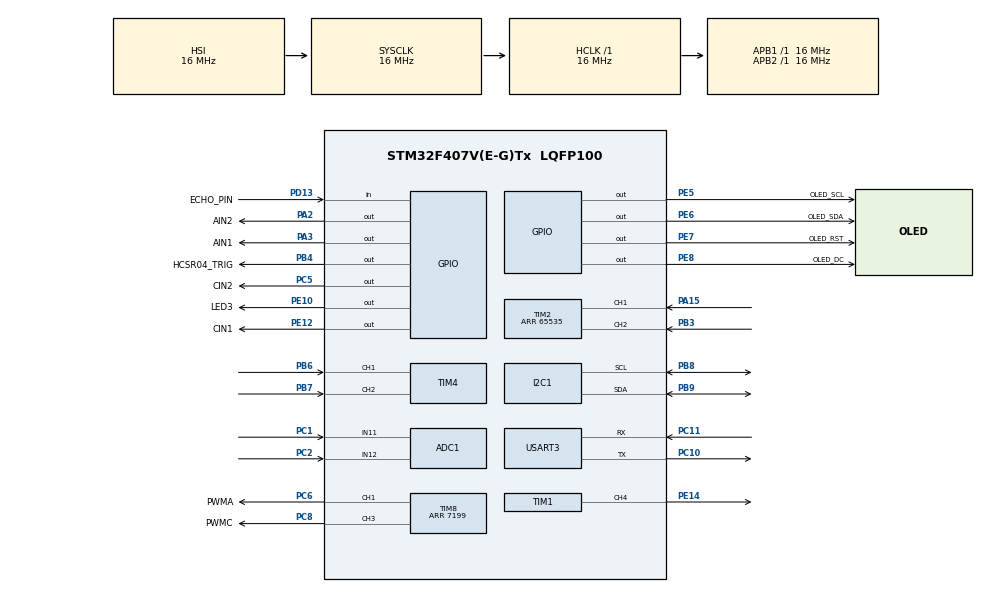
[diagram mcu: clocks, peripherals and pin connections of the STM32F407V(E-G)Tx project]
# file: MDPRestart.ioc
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ADC1.Channel-0\#ChannelRegularConversion=ADC_CHANNEL_11
ADC1.NbrOfConversionFlag=1
ADC1.Rank-0\#ChannelRegularConversion=1
ADC1.SamplingTime-0\#ChannelRegularConversion=ADC_SAMPLETIME_3CYCLES
ADC1.ScanConvMode=ENABLE
ADC1.master=1
FREERTOS.Tasks01=defaultTask,8,128,StartDefaultTask,Default,NULL,Dynamic,NULL,NULL;Command_Task,8,256,commandTask,Default,NULL,Dynamic,NULL,NULL;IMU_Task,8,256,imuTask,Default,NULL,Dynamic,NULL,NULL;PID_Task,32,512,pidTask,Default,NULL,Dynamic,NULL,NULL;UltrasonicTask,8,128,Ultrasonic_Task,Default,NULL,Dynamic,NULL,NULL;HeadingPID,8,128,Heading_PID,Default,NULL,Dynamic,NULL,NULL;IRSensorTask,8,128,IRSensor_Task,Default,NULL,Dynamic,NULL,NULL
Mcu.Family=STM32F4
Mcu.Name=STM32F407V(E-G)Tx
Mcu.Package=LQFP100
NVIC.PriorityGroup=NVIC_PRIORITYGROUP_4
NVIC.USART3_IRQn=true\:5\:0\:false\:false\:true\:true\:true\:true\:true
PA15.Signal=S_TIM2_CH1_ETR
PA2.GPIO_Label=AIN2
PA2.Signal=GPIO_Output
PA3.GPIO_Label=AIN1
PA3.Signal=GPIO_Output
PB3.Signal=S_TIM2_CH2
PB4.GPIO_Label=HCSR04_TRIG
PB4.Signal=GPIO_Output
PB6.Signal=S_TIM4_CH1
PB7.Signal=S_TIM4_CH2
PB8.GPIO_Pu=GPIO_NOPULL
PB8.Mode=I2C
PB8.Signal=I2C1_SCL
PB9.GPIO_Pu=GPIO_NOPULL
PB9.Mode=I2C
PB9.Signal=I2C1_SDA
PC1.Signal=ADCx_IN11
PC10.Mode=Asynchronous
PC10.Signal=USART3_TX
PC11.GPIO_PuPd=GPIO_PULLDOWN
PC11.Mode=Asynchronous
PC11.Signal=USART3_RX
PC2.Signal=ADCx_IN12
PC5.GPIO_Label=CIN2
PC5.Signal=GPIO_Output
PC6.GPIO_Label=PWMA
PC6.Signal=S_TIM8_CH1
PC8.GPIO_Label=PWMC
PC8.Signal=S_TIM8_CH3
PD13.GPIO_Label=ECHO_PIN
PD13.Signal=GPIO_Input
PE10.GPIO_Label=LED3
PE10.Signal=GPIO_Output
PE12.GPIO_Label=CIN1
PE12.Signal=GPIO_Output
PE14.Signal=S_TIM1_CH4
PE5.GPIO_Label=OLED_SCL
PE5.Signal=GPIO_Output
PE6.GPIO_Label=OLED_SDA
PE6.Signal=GPIO_Output
PE7.GPIO_Label=OLED_RST
PE7.Signal=GPIO_Output
PE8.GPIO_Label=OLED_DC
PE8.Signal=GPIO_Output
PH0-OSC_IN.Signal=RCC_OSC_IN
PH1-OSC_OUT.Signal=RCC_OSC_OUT
ProjectManager.HeapSize=0x200
ProjectManager.StackSize=0x400
ProjectManager.TargetToolchain=STM32CubeIDE
RCC.AHBFreq_Value=16000000
RCC.APB1Freq_Value=16000000
RCC.APB2Freq_Value=16000000
RCC.CortexFreq_Value=16000000
RCC.HSE_VALUE=25000000
RCC.HSI_VALUE=16000000
RCC.LSE_VALUE=32768
RCC.SYSCLKFreq_VALUE=16000000
RCC.VCOOutputFreq_Value=192000000
SH.ADCx_IN11.0=ADC1_IN11,IN11
SH.ADCx_IN12.0=ADC1_IN12,IN12
SH.S_TIM1_CH4.0=TIM1_CH4,PWM Generation4 CH4
SH.S_TIM2_CH1_ETR.0=TIM2_CH1,Encoder_Interface
SH.S_TIM2_CH2.0=TIM2_CH2,Encoder_Interface
SH.S_TIM4_CH1.0=TIM4_CH1,Encoder_Interface
SH.S_TIM4_CH2.0=TIM4_CH2,Encoder_Interface
SH.S_TIM8_CH1.0=TIM8_CH1,PWM Generation1 CH1
SH.S_TIM8_CH3.0=TIM8_CH3,PWM Generation3 CH3
TIM1.Channel-PWM\ Generation4\ CH4=TIM_CHANNEL_4
TIM1.Period=1000
TIM1.Prescaler=160
TIM2.EncoderMode=TIM_ENCODERMODE_TI12
TIM2.IC1Filter=10
TIM2.IC2Filter=10
TIM2.Period=65535
TIM4.EncoderMode=TIM_ENCODERMODE_TI12
TIM4.IC1Filter=10
TIM4.IC2Filter=10
TIM8.Channel-PWM\ Generation1\ CH1=TIM_CHANNEL_1
TIM8.Channel-PWM\ Generation3\ CH3=TIM_CHANNEL_3
TIM8.Period=7199
USART3.VirtualMode=VM_ASYNC
VP_FREERTOS_VS_CMSIS_V2.Mode=CMSIS_V2
board=custom

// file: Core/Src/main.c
/* USER CODE BEGIN Header */
/**
 ******************************************************************************
 * @file           : main.c
 * @brief          : Main program body
 ******************************************************************************
 * @attention
 *
 * Copyright (c) 2025 STMicroelectronics.
 * All rights reserved.
 *
 * This software is licensed under terms that can be found in the LICENSE file
 * in the root directory of this software component.
 * If no LICENSE file comes with this software, it is provided AS-IS.
 *
 ******************************************************************************
 */
/* USER CODE END Header */
#include "main.h"
#include "cmsis_os.h"

/* USER CODE BEGIN Includes */
#include "oled.h"
#include "QueueManager.h"
#include "pid.h"
#include "ICM20948.h"
#include <stdbool.h>
#include <string.h>
#include <stdio.h>
#include <math.h>
#include <stdint.h>
#include <float.h>
#include <stdlib.h>
#include <Appl_Timer.h>
#include <HCSR04_cfg.h>

/* USER CODE END Includes */

/* USER CODE BEGIN PD */
////////////////////COMMAND TABLE////////////////////
#define MOVE_FORWARD          1
#define MOVE_BACKWARD         2
#define TURN_FORWARD_LEFT     3
#define TURN_FORWARD_RIGHT    4
#define TURN_BACKWARD_LEFT    5
#define TURN_BACKWARD_RIGHT   6
#define OFFSET_FORWARD_LEFT   7
#define OFFSET_FORWARD_RIGHT  8
#define OFFSET_BACKWARD_LEFT  9
#define OFFSET_BACKWARD_RIGHT 10
#define STOP                  11
#define SNAP				  12

////////////////////RPI RECEIVER////////////////////
#define RXBUFFER_SIZE 8

////////////////////ENCODER DEFINES////////////////////

#define REAR_WHEEL_RADIUS_CM 3.3
#define REAR_WHEEL_CIRCUMFERENCE (2.0 * 3.142 * REAR_WHEEL_RADIUS_CM)
#define ENCODER_PULSES_PER_ROTATION 1320 // 11*4*30
#define PULSE_PER_DISTANCE (ENCODER_PULSES_PER_ROTATION / REAR_WHEEL_CIRCUMFERENCE)
#define LOAD_TORQUE_RPM 266
#define MAX_ENCODER_SPEED ((ENCODER_PULSES_PER_ROTATION * LOAD_TORQUE_RPM) / 60)
#define MAX_MOTOR_PWM 3500

////////////////////SERVO MOTOR DEFINES////////////////////
#define CENTER_POS_PWM 151
#define LEFT_DELTA 47  // max 80
#define RIGHT_DELTA 70 // max 80
#define LEFT_OFFSET_DELTA 15  // max 80
#define RIGHT_OFFSET_DELTA 15 // max 80
#define STEERING_BUFFER_TIME 250
#define LEFTTURN_POS_PWM (CENTER_POS_PWM - LEFT_DELTA)
#define RIGHTTURN_POS_PWM (CENTER_POS_PWM + RIGHT_DELTA)
#define LEFTOFF_POS_PWM (CENTER_POS_PWM - LEFT_OFFSET_DELTA)
#define RIGHTOFF_POS_PWM (CENTER_POS_PWM + RIGHT_OFFSET_DELTA)

// Gyroscope Defines///
#define NUM_CALIBRATION_SAMPLES 500
#define GYRO_SENSITIVITY_SCALE_FACTOR_2000DPS 16.4f

/* USER CODE END PD */

ADC_HandleTypeDef hadc1;

I2C_HandleTypeDef hi2c1;

TIM_HandleTypeDef htim1;
TIM_HandleTypeDef htim2;
TIM_HandleTypeDef htim4;
TIM_HandleTypeDef htim8;

UART_HandleTypeDef huart3;

/* Definitions for defaultTask */
osThreadId_t defaultTaskHandle;
const osThreadAttr_t defaultTask_attributes = {
		.name = "defaultTask",
		.stack_size = 128 * 4,
		.priority = (osPriority_t) osPriorityLow,
};
/* Definitions for Command_Task */
osThreadId_t Command_TaskHandle;
const osThreadAttr_t Command_Task_attributes = {
		.name = "Command_Task",
		.stack_size = 256 * 4,
		.priority = (osPriority_t) osPriorityLow,
};
/* Definitions for IMU_Task */
osThreadId_t IMU_TaskHandle;
const osThreadAttr_t IMU_Task_attributes = {
		.name = "IMU_Task",
		.stack_size = 256 * 4,
		.priority = (osPriority_t) osPriorityLow,
};
/* Definitions for PID_Task */
osThreadId_t PID_TaskHandle;
const osThreadAttr_t PID_Task_attributes = {
		.name = "PID_Task",
		.stack_size = 512 * 4,
		.priority = (osPriority_t) osPriorityAboveNormal,
};
/* Definitions for UltrasonicTask */
osThreadId_t UltrasonicTaskHandle;
const osThreadAttr_t UltrasonicTask_attributes = {
		.name = "UltrasonicTask",
		.stack_size = 128 * 4,
		.priority = (osPriority_t) osPriorityLow,
};
/* Definitions for HeadingPID */
osThreadId_t HeadingPIDHandle;
const osThreadAttr_t HeadingPID_attributes = {
		.name = "HeadingPID",
		.stack_size = 128 * 4,
		.priority = (osPriority_t) osPriorityLow,
};
/* Definitions for IRSensorTask */
osThreadId_t IRSensorTaskHandle;
const osThreadAttr_t IRSensorTask_attributes = {
		.name = "IRSensorTask",
		.stack_size = 128 * 4,
		.priority = (osPriority_t) osPriorityLow,
};
/* USER CODE BEGIN PV */
char debugBuffer[100];  // Buffer for debug messages
uint8_t OLEDBuffer[32]; // store oled text
uint8_t rxBuffer[RXBUFFER_SIZE + 2]; // store command from rpi
volatile uint16_t speedCmd = 0; // in count/seconds
volatile uint16_t targetDistance = 0, targetAngle = 0; // total pulse to travel
bool commandStatus = false; // check if commandTask is running a command

volatile float heading = 0.0f;        // Heading in [0, 360)
static int16_t gyroZ_offset = 0;
uint8_t readGyroZData[2];
uint8_t Hdirection = 0;

float leftSpeed; // encodetask
float rightSpeed;
volatile uint32_t leftTotalCount = 0;
volatile uint32_t rightTotalCount = 0;

volatile uint16_t leftOutputPWM = 0;
volatile uint16_t rightOutputPWM = 0;

pid_type_def forward_pid, backward_pid;

fp32 pid_param_forward[3] = { 3.5, 0.05, 0.4};
fp32 pid_param_backward[3] = { 3.7, 0.1, 0.22};
fp32 pid_param_turn[3] = { 10, 0.0, 0.0 }; // used for PID steering (not as accurate as Gyro but quicker)
fp32 max_out = 4000;
fp32 max_out_turn = 4500;
fp32 max_iout = 3000;

float error_sum = 0.01;
float last_error = 0.0f;
volatile float targetHeading = 0.0f;
uint8_t cmdID = 0;

osMutexId_t headingMutex;
const osMutexAttr_t headingMutex_attributes = {
		.name = "headingMutex"
};
bool resetEncoderFlag = false;

/* USER CODE END PV */

void SystemClock_Config(void);
static void MX_GPIO_Init(void);
static void MX_USART3_UART_Init(void);
static void MX_TIM8_Init(void);
static void MX_TIM2_Init(void);
static void MX_TIM1_Init(void);
static void MX_I2C1_Init(void);
static void MX_TIM4_Init(void);
static void MX_ADC1_Init(void);
void StartDefaultTask(void *argument);
void commandTask(void *argument);
void imuTask(void *argument);
void pidTask(void *argument);
void Ultrasonic_Task(void *argument);
void Heading_PID(void *argument);
void IRSensor_Task(void *argument);

/* USER CODE BEGIN PFP */
void Start_RPI_Comm(void);
void SendMsg_RPI(uint8_t *pdata , uint32_t u32Len);
void turnLeft();
void turnRight();
void offsetLeft();
void offsetRight();
void faceFront();
void setLeftPWM(uint16_t dutyCycle);
void setRightPWM(uint16_t dutyCycle);
void setMotorForward();
void setMotorBackward();
void motorStop();
void moveMotor(int direction, uint16_t speed);
//void distanceTracker();
uint32_t getEncoderDelta(uint32_t count1, uint32_t count2, TIM_HandleTypeDef *htim);
//osSemaphoreId_t commandSemaphore;
//const osSemaphoreAttr_t commandSemaphore_attributes = {
//		.name = "commandSemaphore"
//};

/* USER CODE END PFP */

int main(void)
{

	/* MCU Configuration--------------------------------------------------------*/

	/* Reset of all peripherals, Initializes the Flash interface and the Systick. */
	HAL_Init();

	/* Configure the system clock */
	SystemClock_Config();

	/* Initialize all configured peripherals */
	MX_GPIO_Init();
	MX_USART3_UART_Init();
	MX_TIM8_Init();
	MX_TIM2_Init();
	MX_TIM1_Init();
	MX_I2C1_Init();
	MX_TIM4_Init();
	MX_ADC1_Init();
	/* USER CODE BEGIN 2 */
	OLED_Init();
	Start_RPI_Comm();
	HAL_TIM_PWM_Start(&htim8, TIM_CHANNEL_1); // Left Motor PWM
	HAL_TIM_PWM_Start(&htim8, TIM_CHANNEL_3); // Right Motor PWM
	HAL_TIM_PWM_Start(&htim1, TIM_CHANNEL_4); // Servo Motor PWM
	HAL_TIM_Encoder_Start(&htim2, TIM_CHANNEL_ALL); // Left Motor Encoder
	HAL_TIM_Encoder_Start(&htim4, TIM_CHANNEL_ALL); // Right Motor Encoder

	ICM20948_init(&hi2c1, 0, GYRO_FULL_SCALE_2000DPS);

	PID_init(&forward_pid, PID_POSITION, pid_param_forward, max_out, max_iout);
	PID_init(&backward_pid, PID_POSITION, pid_param_backward, max_out, max_iout);

	//commandSemaphore = osSemaphoreNew(1, 0, &commandSemaphore_attributes);
	osThreadNew(commandTask, NULL, &Command_Task_attributes);
	headingMutex = osMutexNew(&headingMutex_attributes);
	if (headingMutex == NULL) {
		// Handle mutex creation failure
		Error_Handler();
	}

	/* USER CODE END 2 */

	/* Init scheduler */
	osKernelInitialize();

	/* Create the thread(s) */
	/* creation of defaultTask */
	defaultTaskHandle = osThreadNew(StartDefaultTask, NULL, &defaultTask_attributes);

	/* creation of Command_Task */
	Command_TaskHandle = osThreadNew(commandTask, NULL, &Command_Task_attributes);

	/* creation of IMU_Task */
	IMU_TaskHandle = osThreadNew(imuTask, NULL, &IMU_Task_attributes);

	/* creation of PID_Task */
	PID_TaskHandle = osThreadNew(pidTask, NULL, &PID_Task_attributes);

	/* creation of UltrasonicTask */
	UltrasonicTaskHandle = osThreadNew(Ultrasonic_Task, NULL, &UltrasonicTask_attributes);

	/* creation of HeadingPID */
	HeadingPIDHandle = osThreadNew(Heading_PID, NULL, &HeadingPID_attributes);

	/* creation of IRSensorTask */
	IRSensorTaskHandle = osThreadNew(IRSensor_Task, NULL, &IRSensorTask_attributes);

	/* Start scheduler */
	osKernelStart();

	/* We should never get here as control is now taken by the scheduler */

	/* Infinite loop */
	while (1)
	{

	}
}

void SystemClock_Config(void)
{
	RCC_OscInitTypeDef RCC_OscInitStruct = {0};
	RCC_ClkInitTypeDef RCC_ClkInitStruct = {0};

	/** Configure the main internal regulator output voltage
	 */
	__HAL_RCC_PWR_CLK_ENABLE();
	__HAL_PWR_VOLTAGESCALING_CONFIG(PWR_REGULATOR_VOLTAGE_SCALE1);

	/** Initializes the RCC Oscillators according to the specified parameters
	 * in the RCC_OscInitTypeDef structure.
	 */
	RCC_OscInitStruct.OscillatorType = RCC_OSCILLATORTYPE_HSI;
	RCC_OscInitStruct.HSIState = RCC_HSI_ON;
	RCC_OscInitStruct.HSICalibrationValue = RCC_HSICALIBRATION_DEFAULT;
	RCC_OscInitStruct.PLL.PLLState = RCC_PLL_NONE;
	if (HAL_RCC_OscConfig(&RCC_OscInitStruct) != HAL_OK)
	{
		Error_Handler();
	}

	/** Initializes the CPU, AHB and APB buses clocks
	 */
	RCC_ClkInitStruct.ClockType = RCC_CLOCKTYPE_HCLK|RCC_CLOCKTYPE_SYSCLK
			|RCC_CLOCKTYPE_PCLK1|RCC_CLOCKTYPE_PCLK2;
	RCC_ClkInitStruct.SYSCLKSource = RCC_SYSCLKSOURCE_HSI;
	RCC_ClkInitStruct.AHBCLKDivider = RCC_SYSCLK_DIV1;
	RCC_ClkInitStruct.APB1CLKDivider = RCC_HCLK_DIV1;
	RCC_ClkInitStruct.APB2CLKDivider = RCC_HCLK_DIV1;

	if (HAL_RCC_ClockConfig(&RCC_ClkInitStruct, FLASH_LATENCY_0) != HAL_OK)
	{
		Error_Handler();
	}
}

static void MX_ADC1_Init(void)
{

	ADC_ChannelConfTypeDef sConfig = {0};

	/** Configure the global features of the ADC (Clock, Resolution, Data Alignment and number of conversion)
	 */
	hadc1.Instance = ADC1;
	hadc1.Init.ClockPrescaler = ADC_CLOCK_SYNC_PCLK_DIV2;
	hadc1.Init.Resolution = ADC_RESOLUTION_12B;
	hadc1.Init.ScanConvMode = ENABLE;
	hadc1.Init.ContinuousConvMode = DISABLE;
	hadc1.Init.DiscontinuousConvMode = DISABLE;
	hadc1.Init.ExternalTrigConvEdge = ADC_EXTERNALTRIGCONVEDGE_NONE;
	hadc1.Init.ExternalTrigConv = ADC_SOFTWARE_START;
	hadc1.Init.DataAlign = ADC_DATAALIGN_RIGHT;
	hadc1.Init.NbrOfConversion = 1;
	hadc1.Init.DMAContinuousRequests = DISABLE;
	hadc1.Init.EOCSelection = ADC_EOC_SINGLE_CONV;
	if (HAL_ADC_Init(&hadc1) != HAL_OK)
	{
		Error_Handler();
	}

	/** Configure for the selected ADC regular channel its corresponding rank in the sequencer and its sample time.
	 */
	sConfig.Channel = ADC_CHANNEL_11;
	sConfig.Rank = 1;
	sConfig.SamplingTime = ADC_SAMPLETIME_3CYCLES;
	if (HAL_ADC_ConfigChannel(&hadc1, &sConfig) != HAL_OK)
	{
		Error_Handler();
	}

}

static void MX_I2C1_Init(void)
{

	hi2c1.Instance = I2C1;
	hi2c1.Init.ClockSpeed = 100000;
	hi2c1.Init.DutyCycle = I2C_DUTYCYCLE_2;
	hi2c1.Init.OwnAddress1 = 0;
	hi2c1.Init.AddressingMode = I2C_ADDRESSINGMODE_7BIT;
	hi2c1.Init.DualAddressMode = I2C_DUALADDRESS_DISABLE;
	hi2c1.Init.OwnAddress2 = 0;
	hi2c1.Init.GeneralCallMode = I2C_GENERALCALL_DISABLE;
	hi2c1.Init.NoStretchMode = I2C_NOSTRETCH_DISABLE;
	if (HAL_I2C_Init(&hi2c1) != HAL_OK)
	{
		Error_Handler();
	}

}

static void MX_TIM1_Init(void)
{

	TIM_MasterConfigTypeDef sMasterConfig = {0};
	TIM_OC_InitTypeDef sConfigOC = {0};
	TIM_BreakDeadTimeConfigTypeDef sBreakDeadTimeConfig = {0};

	htim1.Instance = TIM1;
	htim1.Init.Prescaler = 160;
	htim1.Init.CounterMode = TIM_COUNTERMODE_UP;
	htim1.Init.Period = 1000;
	htim1.Init.ClockDivision = TIM_CLOCKDIVISION_DIV1;
	htim1.Init.RepetitionCounter = 0;
	htim1.Init.AutoReloadPreload = TIM_AUTORELOAD_PRELOAD_DISABLE;
	if (HAL_TIM_PWM_Init(&htim1) != HAL_OK)
	{
		Error_Handler();
	}
	sMasterConfig.MasterOutputTrigger = TIM_TRGO_RESET;
	sMasterConfig.MasterSlaveMode = TIM_MASTERSLAVEMODE_DISABLE;
	if (HAL_TIMEx_MasterConfigSynchronization(&htim1, &sMasterConfig) != HAL_OK)
	{
		Error_Handler();
	}
	sConfigOC.OCMode = TIM_OCMODE_PWM1;
	sConfigOC.Pulse = 0;
	sConfigOC.OCPolarity = TIM_OCPOLARITY_HIGH;
	sConfigOC.OCFastMode = TIM_OCFAST_DISABLE;
	sConfigOC.OCIdleState = TIM_OCIDLESTATE_RESET;
	sConfigOC.OCNIdleState = TIM_OCNIDLESTATE_RESET;
	if (HAL_TIM_PWM_ConfigChannel(&htim1, &sConfigOC, TIM_CHANNEL_4) != HAL_OK)
	{
		Error_Handler();
	}
	sBreakDeadTimeConfig.OffStateRunMode = TIM_OSSR_DISABLE;
	sBreakDeadTimeConfig.OffStateIDLEMode = TIM_OSSI_DISABLE;
	sBreakDeadTimeConfig.LockLevel = TIM_LOCKLEVEL_OFF;
	sBreakDeadTimeConfig.DeadTime = 0;
	sBreakDeadTimeConfig.BreakState = TIM_BREAK_DISABLE;
	sBreakDeadTimeConfig.BreakPolarity = TIM_BREAKPOLARITY_HIGH;
	sBreakDeadTimeConfig.AutomaticOutput = TIM_AUTOMATICOUTPUT_DISABLE;
	if (HAL_TIMEx_ConfigBreakDeadTime(&htim1, &sBreakDeadTimeConfig) != HAL_OK)
	{
		Error_Handler();
	}
	HAL_TIM_MspPostInit(&htim1);

}

static void MX_TIM2_Init(void)
{

	TIM_Encoder_InitTypeDef sConfig = {0};
	TIM_MasterConfigTypeDef sMasterConfig = {0};

	htim2.Instance = TIM2;
	htim2.Init.Prescaler = 0;
	htim2.Init.CounterMode = TIM_COUNTERMODE_UP;
	htim2.Init.Period = 65535;
	htim2.Init.ClockDivision = TIM_CLOCKDIVISION_DIV1;
	htim2.Init.AutoReloadPreload = TIM_AUTORELOAD_PRELOAD_DISABLE;
	sConfig.EncoderMode = TIM_ENCODERMODE_TI12;
	sConfig.IC1Polarity = TIM_ICPOLARITY_RISING;
	sConfig.IC1Selection = TIM_ICSELECTION_DIRECTTI;
	sConfig.IC1Prescaler = TIM_ICPSC_DIV1;
	sConfig.IC1Filter = 10;
	sConfig.IC2Polarity = TIM_ICPOLARITY_RISING;
	sConfig.IC2Selection = TIM_ICSELECTION_DIRECTTI;
	sConfig.IC2Prescaler = TIM_ICPSC_DIV1;
	sConfig.IC2Filter = 10;
	if (HAL_TIM_Encoder_Init(&htim2, &sConfig) != HAL_OK)
	{
		Error_Handler();
	}
	sMasterConfig.MasterOutputTrigger = TIM_TRGO_RESET;
	sMasterConfig.MasterSlaveMode = TIM_MASTERSLAVEMODE_DISABLE;
	if (HAL_TIMEx_MasterConfigSynchronization(&htim2, &sMasterConfig) != HAL_OK)
	{
		Error_Handler();
	}

}

static void MX_TIM4_Init(void)
{

	TIM_Encoder_InitTypeDef sConfig = {0};
	TIM_MasterConfigTypeDef sMasterConfig = {0};

	htim4.Instance = TIM4;
	htim4.Init.Prescaler = 0;
	htim4.Init.CounterMode = TIM_COUNTERMODE_UP;
	htim4.Init.Period = 65535;
	htim4.Init.ClockDivision = TIM_CLOCKDIVISION_DIV1;
	htim4.Init.AutoReloadPreload = TIM_AUTORELOAD_PRELOAD_DISABLE;
	sConfig.EncoderMode = TIM_ENCODERMODE_TI12;
	sConfig.IC1Polarity = TIM_ICPOLARITY_RISING;
	sConfig.IC1Selection = TIM_ICSELECTION_DIRECTTI;
	sConfig.IC1Prescaler = TIM_ICPSC_DIV1;
	sConfig.IC1Filter = 10;
	sConfig.IC2Polarity = TIM_ICPOLARITY_RISING;
	sConfig.IC2Selection = TIM_ICSELECTION_DIRECTTI;
	sConfig.IC2Prescaler = TIM_ICPSC_DIV1;
	sConfig.IC2Filter = 10;
	if (HAL_TIM_Encoder_Init(&htim4, &sConfig) != HAL_OK)
	{
		Error_Handler();
	}
	sMasterConfig.MasterOutputTrigger = TIM_TRGO_RESET;
	sMasterConfig.MasterSlaveMode = TIM_MASTERSLAVEMODE_DISABLE;
	if (HAL_TIMEx_MasterConfigSynchronization(&htim4, &sMasterConfig) != HAL_OK)
	{
		Error_Handler();
	}

}

static void MX_TIM8_Init(void)
{

	TIM_MasterConfigTypeDef sMasterConfig = {0};
	TIM_OC_InitTypeDef sConfigOC = {0};
	TIM_BreakDeadTimeConfigTypeDef sBreakDeadTimeConfig = {0};

	htim8.Instance = TIM8;
	htim8.Init.Prescaler = 0;
	htim8.Init.CounterMode = TIM_COUNTERMODE_UP;
	htim8.Init.Period = 7199;
	htim8.Init.ClockDivision = TIM_CLOCKDIVISION_DIV1;
	htim8.Init.RepetitionCounter = 0;
	htim8.Init.AutoReloadPreload = TIM_AUTORELOAD_PRELOAD_DISABLE;
	if (HAL_TIM_PWM_Init(&htim8) != HAL_OK)
	{
		Error_Handler();
	}
	sMasterConfig.MasterOutputTrigger = TIM_TRGO_RESET;
	sMasterConfig.MasterSlaveMode = TIM_MASTERSLAVEMODE_DISABLE;
	if (HAL_TIMEx_MasterConfigSynchronization(&htim8, &sMasterConfig) != HAL_OK)
	{
		Error_Handler();
	}
	sConfigOC.OCMode = TIM_OCMODE_PWM1;
	sConfigOC.Pulse = 0;
	sConfigOC.OCPolarity = TIM_OCPOLARITY_HIGH;
	sConfigOC.OCNPolarity = TIM_OCNPOLARITY_HIGH;
	sConfigOC.OCFastMode = TIM_OCFAST_DISABLE;
	sConfigOC.OCIdleState = TIM_OCIDLESTATE_RESET;
	sConfigOC.OCNIdleState = TIM_OCNIDLESTATE_RESET;
	if (HAL_TIM_PWM_ConfigChannel(&htim8, &sConfigOC, TIM_CHANNEL_1) != HAL_OK)
	{
		Error_Handler();
	}
	if (HAL_TIM_PWM_ConfigChannel(&htim8, &sConfigOC, TIM_CHANNEL_3) != HAL_OK)
	{
		Error_Handler();
	}
	sBreakDeadTimeConfig.OffStateRunMode = TIM_OSSR_DISABLE;
	sBreakDeadTimeConfig.OffStateIDLEMode = TIM_OSSI_DISABLE;
	sBreakDeadTimeConfig.LockLevel = TIM_LOCKLEVEL_OFF;
	sBreakDeadTimeConfig.DeadTime = 0;
	sBreakDeadTimeConfig.BreakState = TIM_BREAK_DISABLE;
	sBreakDeadTimeConfig.BreakPolarity = TIM_BREAKPOLARITY_HIGH;
	sBreakDeadTimeConfig.AutomaticOutput = TIM_AUTOMATICOUTPUT_DISABLE;
	if (HAL_TIMEx_ConfigBreakDeadTime(&htim8, &sBreakDeadTimeConfig) != HAL_OK)
	{
		Error_Handler();
	}
	HAL_TIM_MspPostInit(&htim8);

}

static void MX_USART3_UART_Init(void)
{

	huart3.Instance = USART3;
	huart3.Init.BaudRate = 115200;
	huart3.Init.WordLength = UART_WORDLENGTH_8B;
	huart3.Init.StopBits = UART_STOPBITS_1;
	huart3.Init.Parity = UART_PARITY_NONE;
	huart3.Init.Mode = UART_MODE_TX_RX;
	huart3.Init.HwFlowCtl = UART_HWCONTROL_NONE;
	huart3.Init.OverSampling = UART_OVERSAMPLING_16;
	if (HAL_UART_Init(&huart3) != HAL_OK)
	{
		Error_Handler();
	}

}

static void MX_GPIO_Init(void)
{
	GPIO_InitTypeDef GPIO_InitStruct = {0};

	/* GPIO Ports Clock Enable */
	__HAL_RCC_GPIOE_CLK_ENABLE();
	__HAL_RCC_GPIOH_CLK_ENABLE();
	__HAL_RCC_GPIOC_CLK_ENABLE();
	__HAL_RCC_GPIOA_CLK_ENABLE();
	__HAL_RCC_GPIOD_CLK_ENABLE();
	__HAL_RCC_GPIOB_CLK_ENABLE();

	/*Configure GPIO pin Output Level */
	HAL_GPIO_WritePin(GPIOE, OLED_SCL_Pin|OLED_SDA_Pin|OLED_RST_Pin|OLED_DC_Pin
			|LED3_Pin|CIN1_Pin, GPIO_PIN_RESET);

	/*Configure GPIO pin Output Level */
	HAL_GPIO_WritePin(GPIOA, AIN2_Pin|AIN1_Pin, GPIO_PIN_RESET);

	/*Configure GPIO pin Output Level */
	HAL_GPIO_WritePin(CIN2_GPIO_Port, CIN2_Pin, GPIO_PIN_RESET);

	/*Configure GPIO pin Output Level */
	HAL_GPIO_WritePin(HCSR04_TRIG_GPIO_Port, HCSR04_TRIG_Pin, GPIO_PIN_RESET);

	/*Configure GPIO pins : OLED_SCL_Pin OLED_SDA_Pin OLED_RST_Pin OLED_DC_Pin
                           LED3_Pin CIN1_Pin */
	GPIO_InitStruct.Pin = OLED_SCL_Pin|OLED_SDA_Pin|OLED_RST_Pin|OLED_DC_Pin
			|LED3_Pin|CIN1_Pin;
	GPIO_InitStruct.Mode = GPIO_MODE_OUTPUT_PP;
	GPIO_InitStruct.Pull = GPIO_NOPULL;
	GPIO_InitStruct.Speed = GPIO_SPEED_FREQ_LOW;
	HAL_GPIO_Init(GPIOE, &GPIO_InitStruct);

	/*Configure GPIO pins : AIN2_Pin AIN1_Pin */
	GPIO_InitStruct.Pin = AIN2_Pin|AIN1_Pin;
	GPIO_InitStruct.Mode = GPIO_MODE_OUTPUT_PP;
	GPIO_InitStruct.Pull = GPIO_NOPULL;
	GPIO_InitStruct.Speed = GPIO_SPEED_FREQ_LOW;
	HAL_GPIO_Init(GPIOA, &GPIO_InitStruct);

	/*Configure GPIO pin : CIN2_Pin */
	GPIO_InitStruct.Pin = CIN2_Pin;
	GPIO_InitStruct.Mode = GPIO_MODE_OUTPUT_PP;
	GPIO_InitStruct.Pull = GPIO_NOPULL;
	GPIO_InitStruct.Speed = GPIO_SPEED_FREQ_LOW;
	HAL_GPIO_Init(CIN2_GPIO_Port, &GPIO_InitStruct);

	/*Configure GPIO pin : ECHO_PIN_Pin */
	GPIO_InitStruct.Pin = ECHO_PIN_Pin;
	GPIO_InitStruct.Mode = GPIO_MODE_INPUT;
	GPIO_InitStruct.Pull = GPIO_NOPULL;
	HAL_GPIO_Init(ECHO_PIN_GPIO_Port, &GPIO_InitStruct);

	/*Configure GPIO pin : HCSR04_TRIG_Pin */
	GPIO_InitStruct.Pin = HCSR04_TRIG_Pin;
	GPIO_InitStruct.Mode = GPIO_MODE_OUTPUT_PP;
	GPIO_InitStruct.Pull = GPIO_NOPULL;
	GPIO_InitStruct.Speed = GPIO_SPEED_FREQ_LOW;
	HAL_GPIO_Init(HCSR04_TRIG_GPIO_Port, &GPIO_InitStruct);

}

/* USER CODE BEGIN 4 */
////////////////////RPI COMMS START////////////////////
void Start_RPI_Comm(void)
{
	HAL_UART_Receive_IT(&huart3, (uint8_t*) rxBuffer, RXBUFFER_SIZE);  //trigger interrupt after 8 byte
}
void SendMsg_RPI(uint8_t *pdata , uint32_t u32Len)
{
	HAL_UART_Transmit(&huart3, pdata , u32Len, 100);
}
void HAL_UART_RxCpltCallback(UART_HandleTypeDef *huart)
{
	uint32_t u32Cmd = 0U;
	uint32_t u32speed = 0U, u32distance = 0U;
	char msgBuffer[50];

	if (huart->Instance == USART3)
	{
		char direction = rxBuffer[0];
		char speedData[3] = {0};
		char distanceData[4] = {0};

		strncpy(speedData, (char*)&rxBuffer[1], 2);
		speedData[2] = '\0';
		strncpy(distanceData, (char*)&rxBuffer[4], 3);
		distanceData[3] = '\0';
		u32speed = (uint32_t)atoi(speedData);  // Convert ASCII to integer
		u32distance = (uint32_t)atoi(distanceData);  // Convert ASCII to integer
		if (u32distance != 0 && u32distance <= 5) {
			u32distance = 5;
		}

		switch (direction)
		{
		case 'F':  u32Cmd = MOVE_FORWARD;          break;
		case 'B':  u32Cmd = MOVE_BACKWARD;         break;
		case 'L':  u32Cmd = TURN_FORWARD_LEFT;     break;
		case 'R':  u32Cmd = TURN_FORWARD_RIGHT;    break;
		case 'l':  u32Cmd = TURN_BACKWARD_LEFT;    break;
		case 'r':  u32Cmd = TURN_BACKWARD_RIGHT;   break;
		case 'O':  u32Cmd = OFFSET_FORWARD_LEFT;   break;
		case 'P':  u32Cmd = OFFSET_FORWARD_RIGHT;  break;
		case 'o':  u32Cmd = OFFSET_BACKWARD_LEFT;  break;
		case 'p':  u32Cmd = OFFSET_BACKWARD_RIGHT; break;
		case 'Z':  u32Cmd = STOP;                  break;
		case 'S':  u32Cmd = SNAP; 				 break;
		default:   u32Cmd = 0U;                    break;
		}

		if (u32Cmd != 0U)
		{
			u32Cmd = (u32Cmd * 100000) + (u32speed * 1000) + u32distance;
			snprintf(msgBuffer, sizeof(msgBuffer), "%lu\n", (unsigned long)u32Cmd);
			SendMsg_RPI((uint8_t*)msgBuffer, strlen(msgBuffer));
			if(PushToQueue_MTR_Cmd(&u32Cmd))
			{
				//SendMsg_RPI((uint8_t*)"ACK1\n", strlen("ACK1\n"));
			}
			else
			{
				// If the queue is full, send an error message
				SendMsg_RPI((uint8_t*)"QUEUE_ERR\n", strlen("QUEUE_ERR\n"));
			}
		}
		else
		{
			SendMsg_RPI((uint8_t*)"CMD_FORMAT_ERR\n", strlen("CMD_FORMAT_ERR\n"));
		}
	}
	//memset(rxBuffer, 0U, RXBUFFER_SIZE);
	Start_RPI_Comm();
}
////////////////////RPI COMMS END////////////////////

////////////////////MOTOR HELPER START////////////////////
void turnLeft() {
	htim1.Instance->CCR4 = LEFTTURN_POS_PWM;
	//robot_direction = 0;
}
void turnRight() {
	htim1.Instance->CCR4 = RIGHTTURN_POS_PWM;
	//robot_direction = 2;
}
void offsetLeft() {
	htim1.Instance->CCR4 = LEFTOFF_POS_PWM;
	//robot_direction = 0;
}
void offsetRight() {
	htim1.Instance->CCR4 = RIGHTOFF_POS_PWM;
	//robot_direction = 2;
}
void faceFront() {
	htim1.Instance->CCR4 = CENTER_POS_PWM; //CENTER_POS_PWM;
	//robot_direction = 1;
}
void setLeftPWM(uint16_t dutyCycle) {
	__HAL_TIM_SET_COMPARE(&htim8, TIM_CHANNEL_1, dutyCycle);
}
void setRightPWM(uint16_t dutyCycle) {
	__HAL_TIM_SET_COMPARE(&htim8, TIM_CHANNEL_3, dutyCycle);
}
void setMotorForward() {
	// set motor direction
	// ------- left motor
	HAL_GPIO_WritePin(GPIOC, CIN2_Pin, GPIO_PIN_RESET);
	HAL_GPIO_WritePin(GPIOE, CIN1_Pin, GPIO_PIN_SET);
	// ------- right motor
	HAL_GPIO_WritePin(GPIOA, AIN2_Pin, GPIO_PIN_RESET);
	HAL_GPIO_WritePin(GPIOA, AIN1_Pin, GPIO_PIN_SET);
}
void setMotorBackward() {
	// set motor direction
	// ------- left motor
	HAL_GPIO_WritePin(GPIOC, CIN2_Pin, GPIO_PIN_SET);
	HAL_GPIO_WritePin(GPIOE, CIN1_Pin, GPIO_PIN_RESET);
	// ------- right motor
	HAL_GPIO_WritePin(GPIOA, AIN2_Pin, GPIO_PIN_SET);
	HAL_GPIO_WritePin(GPIOA, AIN1_Pin, GPIO_PIN_RESET);
}
void motorStop() {
	// ------- left motor
	HAL_GPIO_WritePin(GPIOC, CIN2_Pin, GPIO_PIN_RESET);
	HAL_GPIO_WritePin(GPIOE, CIN1_Pin, GPIO_PIN_RESET);
	setLeftPWM(0);
	// ------- right motor
	HAL_GPIO_WritePin(GPIOA, AIN2_Pin, GPIO_PIN_RESET);
	HAL_GPIO_WritePin(GPIOA, AIN1_Pin, GPIO_PIN_RESET);
	setRightPWM(0);
}
void moveMotor(int direction, uint16_t speed) {
	if (direction == MOVE_FORWARD) { // Forward
		setMotorForward();
	} else if (direction == MOVE_BACKWARD){ // Backward
		setMotorBackward();
	}
	// Set PWM Compare
	__HAL_TIM_SET_COMPARE(&htim8, TIM_CHANNEL_1, speed); // left motor
	__HAL_TIM_SET_COMPARE(&htim8, TIM_CHANNEL_3, speed); // right motor
}
////////////////////MOTOR HELPER END////////////////////

void TriggerPulse(void)
{
	HAL_GPIO_WritePin(HCSR04_TRIG_GPIO_Port, HCSR04_TRIG_Pin, GPIO_PIN_SET);
	__HAL_TIM_SET_COUNTER(&htim1, 0);  // Reset Timer
	while (__HAL_TIM_GET_COUNTER(&htim1) < 10);  // Wait 10µs
	HAL_GPIO_WritePin(HCSR04_TRIG_GPIO_Port, HCSR04_TRIG_Pin, GPIO_PIN_RESET);
}

uint32_t MeasureEchoTime(void)
{
	uint32_t start_time = 0, stop_time = 0;

	// **Wait for ECHO to go HIGH (Start timing)**
	while (HAL_GPIO_ReadPin(ECHO_PIN_GPIO_Port, ECHO_PIN_Pin) == GPIO_PIN_RESET);
	start_time = __HAL_TIM_GET_COUNTER(&htim1);  // Get the start time in µs

	// **Wait for ECHO to go LOW (Stop timing)**
	while (HAL_GPIO_ReadPin(ECHO_PIN_GPIO_Port, ECHO_PIN_Pin) == GPIO_PIN_SET);
	stop_time = __HAL_TIM_GET_COUNTER(&htim1);  // Get the stop time in µs

	return (stop_time > start_time) ? (stop_time - start_time) : 0;
}

float CalculateDistance(uint32_t pulse_time)
{
	return (pulse_time * 0.0343f) / 2.0f;  // Convert to cm (divide by 2 for round trip)
}

////////////////////ENCODER START////////////////////

uint32_t getEncoderDelta(uint32_t count1, uint32_t count2,
		TIM_HandleTypeDef *htim) {
	if (__HAL_TIM_IS_TIM_COUNTING_DOWN(htim)) {
		if (count2 <= count1) {
			return count1 - count2;
		} else if ((count2 - count1) > 32000) {
			return (65535 - count2 + count1);
		}
		else {
			return (count2 - count1);
		}
	} else {
		if (count2 >= count1) {
			return count2 - count1;
		} else if ((count1 - count2) > 32000){
			return (65535 - count1 + count2);
		}
		else {
			return (count1 - count2);
		}

	}
}

void CalibrateGyroZOffset(I2C_HandleTypeDef *hi2c) {
	int16_t gyroZ_raw = 0;
	int16_t gyroZ_samples[NUM_CALIBRATION_SAMPLES];
	uint8_t gyroDataBuffer[2];  // Buffer for raw gyro data

	// **Step 1: Collect multiple stable samples**
	for (int i = 0; i < NUM_CALIBRATION_SAMPLES; i++) {
		__Gyro_Read_Z(hi2c, gyroDataBuffer, gyroZ_raw);  // Uses the macro as per your main.h
		gyroZ_samples[i] = gyroZ_raw;
		osDelay(5);  // Small delay to reduce noise
	}

	// **Step 2: Sort samples to remove outliers (Optional but recommended)**
	for (int i = 0; i < NUM_CALIBRATION_SAMPLES - 1; i++) {
		for (int j = i + 1; j < NUM_CALIBRATION_SAMPLES; j++) {
			if (gyroZ_samples[i] > gyroZ_samples[j]) {
				int16_t temp = gyroZ_samples[i];
				gyroZ_samples[i] = gyroZ_samples[j];
				gyroZ_samples[j] = temp;
			}
		}
	}

	// **Step 3: Compute offset using median filter (more robust than mean)**
	gyroZ_offset = gyroZ_samples[NUM_CALIBRATION_SAMPLES / 2];  // Median value for better stability
}

float normalizeAngle(float angle) {
	angle = fmodf(angle, 360.0f);
	if (angle < 0) angle += 360.0f;
	return angle;
}

/////// IR Sensor Functions////////
uint32_t ADC_Read_Channel(uint32_t channel) {
	ADC_ChannelConfTypeDef sConfig = {0};
	sConfig.Channel = channel;  // dynamically set ADC channel
	sConfig.Rank = 1;
	sConfig.SamplingTime = ADC_SAMPLETIME_15CYCLES;

	if (HAL_ADC_ConfigChannel(&hadc1, &sConfig) != HAL_OK) {
		Error_Handler();
	}

	HAL_ADC_Start(&hadc1);
	if (HAL_ADC_PollForConversion(&hadc1, 10) != HAL_OK) {
		return 0;  // error handling
	}
	uint32_t adcVal = HAL_ADC_GetValue(&hadc1);
	HAL_ADC_Stop(&hadc1);
	return adcVal;
}

uint32_t read_IR_Left(void) {
	return ADC_Read_Channel(ADC_CHANNEL_11); // PC1
}

uint32_t read_IR_Right(void) {
	return ADC_Read_Channel(ADC_CHANNEL_12); // PC2
}

float IR_ADC_to_Distance(uint32_t adcValue) {
    if (adcValue > 3000) return 5.0f;        // ~5 cm (very close)
    else if (adcValue > 2500) return 7.0f;   // approximately 7 cm
    else if (adcValue > 2000) return 10.0f;
    else if (adcValue > 1500) return 15.0f;
    else if (adcValue > 1000) return 20.0f;
    else if (adcValue > 500) return 30.0f;

    return 50.0f;  // Default if far away or sensor out of range
}

/////// IR Sensor End////////

////////////////////ENCODER END////////////////////
/* USER CODE END 4 */

void StartDefaultTask(void *argument)
{
	/* USER CODE BEGIN 5 */
	OLED_Clear();
	int counter = 0;
	/* Infinite loop */
	for(;;)
	{
		HAL_GPIO_TogglePin(LED3_GPIO_Port, LED3_Pin);
		sprintf((char*)OLEDBuffer, "Count: %d", counter);
		OLED_ShowString(10, 10, OLEDBuffer);
		//snprintf((char*)OLEDBuffer, sizeof(OLEDBuffer), "Yaw: %d", (int)heading);
		//OLED_ShowString(10, 30, OLEDBuffer);
		OLED_Refresh_Gram();
		counter++;
		osDelay(1000);
	}
	/* USER CODE END 5 */
}

void commandTask(void *argument)
{
	/* USER CODE BEGIN commandTask */
	uint32_t u32Cmd;
	uint16_t distanceCmd = 0, angleCmd = 0;

	/* Infinite loop */
	for(;;)
	{
		if (PopFromQueue_MTR_Cmd(&u32Cmd))
		{
			speedCmd = ((u32Cmd % 100000) / 1000.0f) * MAX_ENCODER_SPEED;
			commandStatus = true;
			cmdID = u32Cmd / 100000;
			if(cmdID != MOVE_FORWARD && cmdID != MOVE_BACKWARD && cmdID != STOP && cmdID != SNAP)
			{
				angleCmd      = u32Cmd % 1000;
				targetAngle = normalizeAngle(heading + angleCmd);
				targetDistance  = 0;
			}
			else
			{
				distanceCmd = (u32Cmd % 1000) * PULSE_PER_DISTANCE; // Convert duty cycle to encoder count
				targetDistance = distanceCmd;
				targetAngle = 0;
			}

			//snprintf(debugBuffer, sizeof(debugBuffer),
			//		"CMD: %lu | SpeedCmd: %u | DistanceCmd: %u\n",
			//		u32Cmd, speedCmd, targetDistance);
			//SendMsg_RPI((uint8_t*)debugBuffer, strlen(debugBuffer));

			//float newTarget = heading;

			// **Execute Command**
			switch (cmdID)
			{
			case MOVE_FORWARD:
				faceFront();
				leftTotalCount = 0; // Reset encoder counts
				rightTotalCount = 0;
				__HAL_TIM_SET_COUNTER(&htim2, 0);
				__HAL_TIM_SET_COUNTER(&htim4, 0);
				resetEncoderFlag = true;
				if (osMutexAcquire(headingMutex, osWaitForever) == osOK) {
					targetHeading = heading;
					osMutexRelease(headingMutex);
				}
				setMotorForward();
				//PID_init(&left_pid, PID_POSITION, pid_param_left, max_out, max_iout);
				//PID_init(&right_pid, PID_POSITION, pid_param_right, max_out, max_iout);
				commandStatus = true; // Set command status to true
				break;
			case MOVE_BACKWARD:
				faceFront();
				leftTotalCount = 0; // Reset encoder counts
				rightTotalCount = 0;
				__HAL_TIM_SET_COUNTER(&htim2, 0);
				__HAL_TIM_SET_COUNTER(&htim4, 0);
				resetEncoderFlag = true;
				osDelay(100);
				if (osMutexAcquire(headingMutex, osWaitForever) == osOK) {
					targetHeading = heading;
					osMutexRelease(headingMutex);
				}
				setMotorBackward();
				//PID_init(&left_pid, PID_POSITION, pid_param_left, max_out, max_iout);
				//PID_init(&right_pid, PID_POSITION, pid_param_right, max_out, max_iout);
				commandStatus = true; // Set command status to true
				break;
			case TURN_FORWARD_LEFT:
				targetAngle = normalizeAngle(heading - (u32Cmd % 1000));
				targetDistance = 0;
				turnLeft();
				osDelay(100);
				setMotorForward();
				Hdirection = 1;
				break;
			case TURN_FORWARD_RIGHT:
				targetAngle = normalizeAngle(heading + (u32Cmd % 1000));
				targetDistance = 0;
				turnRight();
				osDelay(100);
				setMotorForward();
				Hdirection = 2;
				break;
			case TURN_BACKWARD_LEFT:
				targetAngle = normalizeAngle(heading + (u32Cmd % 1000));
				targetDistance = 0;
				turnLeft();
				osDelay(100);
				setMotorBackward();
				Hdirection = 3;
				break;
			case TURN_BACKWARD_RIGHT:
				targetAngle = normalizeAngle(heading - (u32Cmd % 1000));
				targetDistance = 0;
				turnRight();
				osDelay(100);
				setMotorBackward();
				Hdirection = 4;
				break;
			case OFFSET_FORWARD_LEFT:
				targetAngle = normalizeAngle(heading - (u32Cmd % 1000));
				targetDistance = 0;
				offsetLeft();
				osDelay(100);
				setMotorForward();
				Hdirection = 1;
				break;
			case OFFSET_FORWARD_RIGHT:
				targetAngle = normalizeAngle(heading + (u32Cmd % 1000));
				targetDistance = 0;
				offsetRight();
				osDelay(100);
				setMotorForward();
				Hdirection = 2;
				break;
			case OFFSET_BACKWARD_LEFT:
				targetAngle = normalizeAngle(heading + (u32Cmd % 1000));
				targetDistance = 0;
				offsetLeft();
				osDelay(100);
				setMotorBackward();
				Hdirection  = 3;
				break;
			case OFFSET_BACKWARD_RIGHT:
				targetAngle = normalizeAngle(heading - (u32Cmd % 1000));
				targetDistance = 0;
				offsetRight();
				osDelay(100);
				setMotorBackward();
				Hdirection = 4;
				break;
			case STOP:
				motorStop();
				osDelay(100);
				SendMsg_RPI((uint8_t*)"ACK\n", strlen("ACK\n"));
				faceFront();
				commandStatus = false;
				targetDistance = 0;
				targetAngle = 0;
				break;
			case SNAP:
				SendMsg_RPI((uint8_t*)"SNAP\n", strlen("SNAP\n"));
				break;
			}
		}
		osDelay(100);
	}
	/* USER CODE END commandTask */
}

void imuTask(void *argument)
{
	/* USER CODE BEGIN imuTask */
	// 1. Calibrate offset at startup (robot must be still)
	CalibrateGyroZOffset(&hi2c1);

	// 2. Initialize heading to 0
	heading = 0.0f;

	// Remember last time for delta-t
	uint32_t lastTick = HAL_GetTick();

	/* Infinite loop */
	for(;;)
	{
		// 3. Compute time step
		uint32_t currentTick = HAL_GetTick();
		float dt = (currentTick - lastTick) / 1000.0f;  // ms -> s
		lastTick = currentTick;

		// 4. Read raw gyroZ
		int16_t gyroZ_raw = 0;
		__Gyro_Read_Z(&hi2c1, readGyroZData, gyroZ_raw);

		// 5. Subtract offset
		int16_t gyroZ_corrected = gyroZ_raw - gyroZ_offset;

		// 6. Convert to deg/s
		float gyroZ_dps = gyroZ_corrected / GYRO_SENSITIVITY_SCALE_FACTOR_2000DPS;
		if (osMutexAcquire(headingMutex, osWaitForever) == osOK) {
			heading -= gyroZ_dps * dt;
			heading = fmodf(heading, 360.0f);
			if (heading < 0.0f) heading += 360.0f;
			osMutexRelease(headingMutex);  // 🔹 Unlock the mutex
		}

		// Optional: debug print
		//snprintf(debugBuffer, sizeof(debugBuffer), "Heading: %.2f\r\n", heading);
		//SendMsg_RPI((uint8_t*)debugBuffer, strlen(debugBuffer));
		osDelay(50);
	}

	/* USER CODE END imuTask */
}

void pidTask(void *argument)
{
	/* USER CODE BEGIN pidTask */
	uint16_t leftCount1 = 0, rightCount1 = 0,
			leftCount2 = 0, rightCount2 = 0;
	uint32_t leftDelta = 0, rightDelta = 0;

	float kp_heading = 4.2, ki_heading = 0.1, kd_heading = 1.2;

	static float distance_error_sum = 0.0f;
	static float distance_last_error = 0.0f;

	leftCount1 = (uint16_t)__HAL_TIM_GET_COUNTER(&htim2);
	rightCount1 = (uint16_t)__HAL_TIM_GET_COUNTER(&htim4);

	if (commandStatus && targetHeading == 0) {
		targetHeading = heading;
	}

	/* Infinite loop */
	for(;;)
	{
		if (commandStatus)
		{
			if (resetEncoderFlag)
			{
				leftCount1 = (uint16_t)__HAL_TIM_GET_COUNTER(&htim2);
				rightCount1 = (uint16_t)__HAL_TIM_GET_COUNTER(&htim4);
				resetEncoderFlag = false;
			}

			if(targetDistance != 0 && targetAngle == 0)
			{
				// Get encoder readings
				leftCount2 = (uint16_t)__HAL_TIM_GET_COUNTER(&htim2);
				rightCount2 = (uint16_t)__HAL_TIM_GET_COUNTER(&htim4);

				// Compute encoder delta
				leftDelta = getEncoderDelta(leftCount1, leftCount2, &htim2);
				rightDelta = getEncoderDelta(rightCount1, rightCount2, &htim4);

				// Accumulate total distance traveled
				leftTotalCount += leftDelta;
				rightTotalCount += rightDelta;

				// Compute motor output using PID
				if(cmdID == MOVE_FORWARD){
					leftOutputPWM = PID_calc(&forward_pid, leftTotalCount, targetDistance);
					leftOutputPWM*= 0.6;
				}
				else {
					leftOutputPWM = PID_calc(&backward_pid, leftTotalCount, targetDistance);
				}
				rightOutputPWM = leftOutputPWM;
				//original
				//leftOutputPWM = PID_calc(&left_pid, leftTotalCount, targetDistance);
				//rightOutputPWM = PID_calc(&right_pid, rightTotalCount, targetDistance);

				// Get IMU heading data
				float currentHeading;
				if (osMutexAcquire(headingMutex, osWaitForever) == osOK) {
					currentHeading = heading;
					osMutexRelease(headingMutex);
				}
				float headingError = targetHeading - currentHeading;

				// Normalize heading error (-180 to 180)
				if (headingError > 180.0f) headingError -= 360.0f;
				else if (headingError < -180.0f) headingError += 360.0f;

				float heading_derivative = headingError - distance_last_error;
				distance_error_sum += headingError;

				// Integral Windup Prevention
				if (distance_error_sum > 50.0f) distance_error_sum = 50.0f;
				if (distance_error_sum < -50.0f) distance_error_sum = -50.0f;

				// Compute Servo Angle Correction
				float servoCorrection;
				if (cmdID == MOVE_FORWARD) {
					servoCorrection = CENTER_POS_PWM + (kp_heading * headingError) +
							(ki_heading * distance_error_sum) +
							(kd_heading * heading_derivative);
				} else {
					servoCorrection = CENTER_POS_PWM - (kp_heading * headingError) -
							(ki_heading * distance_error_sum) -
							(kd_heading * heading_derivative);
				}

				// Clamp servo position within allowed range
				if (servoCorrection > (CENTER_POS_PWM + RIGHT_DELTA))
					servoCorrection = CENTER_POS_PWM + RIGHT_DELTA;
				if (servoCorrection < (CENTER_POS_PWM - LEFT_DELTA))
					servoCorrection = CENTER_POS_PWM - LEFT_DELTA;

				// Set Servo Position for Steering
				htim1.Instance->CCR4 = (uint16_t)servoCorrection;

				// Debug Heading & Servo Correction
				//snprintf(debugBuffer, sizeof(debugBuffer), "Heading: %.2f, Target: %.2f, Error: %.2f, Servo: %.2f\n",
				//		currentHeading, targetHeading, headingError, servoCorrection);
				//SendMsg_RPI((uint8_t*)debugBuffer, strlen(debugBuffer));

				distance_last_error = headingError;

				// Ensure PWM Values Stay in Range
				if (leftOutputPWM < 500) leftOutputPWM = 500;
				if (rightOutputPWM < 500) rightOutputPWM = 500;
				if (leftOutputPWM > MAX_MOTOR_PWM) leftOutputPWM = MAX_MOTOR_PWM;
				if (rightOutputPWM > MAX_MOTOR_PWM) rightOutputPWM = MAX_MOTOR_PWM;

				// Set motor PWM
				setLeftPWM(leftOutputPWM * 0.85);
				setRightPWM(rightOutputPWM * 0.85);

				// **Stop Condition: When distance is reached**
				if (leftTotalCount >= targetDistance || rightTotalCount >= targetDistance)
				{
					motorStop();
					commandStatus = false;
					leftTotalCount = 0;
					rightTotalCount = 0;
					targetDistance = 0;
					htim1.Instance->CCR4 = CENTER_POS_PWM;
					SendMsg_RPI((uint8_t*)"ACK\n", strlen("ACK\n"));
				}
			}
			// Update last encoder readings
			leftCount1 = leftCount2;
			rightCount1 = rightCount2;
		}

		osDelay(20);
	}
	/* USER CODE END pidTask */
}

void Ultrasonic_Task(void *argument)
{
	/* USER CODE BEGIN Ultrasonic_Task */
	uint32_t distance_cm = 0U;
	/* Infinite loop */
	for(;;)
	{
		TriggerPulse();  // Send trigger pulse
		uint32_t echoTime = MeasureEchoTime();  // Measure pulse duration
		distance_cm = CalculateDistance(echoTime);  // Convert to cm

		// Debugging: Send the distance to RPI or display on OLED
		//		snprintf(debugBuffer, sizeof(debugBuffer), "Distance: %lu cm\n", (unsigned long)distance_cm);
		//		SendMsg_RPI((uint8_t*)debugBuffer, strlen(debugBuffer));

		// Update OLED Display
		//sprintf((char *)OLEDBuffer, "Dist: %lu cm", (unsigned long)distance_cm);
		//OLED_ShowString(10, 30, OLEDBuffer);
		//OLED_Refresh_Gram();
		osDelay(200);
	}
	/* USER CODE END Ultrasonic_Task */
}

void Heading_PID(void *argument)
{
	/* USER CODE BEGIN Heading_PID */
	float kp_left = 0.75, ki_left = 0.002, kd_left = 0.6;  // Fine-tuned for left turns
	float kp_right = 2.0, ki_right = 0.2, kd_right = 0.32;  // Fine-tuned for right turns

	float kp_backward_left = 0.5, ki_backward_left = 0.001, kd_backward_left = 0.45;
	float kp_backward_right = 0.6, ki_backward_right = 0.0, kd_backward_right = 0.5;

	static float heading_error_sum = 0.0f;
	static float heading_last_error = 0.0f;

	/* Infinite loop */
	for(;;)
	{
		if(targetDistance == 0 && targetAngle != 0)
		{
			float currentHeading;
			if (osMutexAcquire(headingMutex, osWaitForever) == osOK) {
				currentHeading = heading;
				osMutexRelease(headingMutex);  // 🔹 Unlock mutex
			}
			float angleError = targetAngle - currentHeading;

			// If you only need to rotate e.g. +90 or -90, you may want to normalize angleError
			// so that it does the "shortest turn":
			if (angleError > 180.0f) {
				angleError -= 360.0f;
			} else if (angleError < -180.0f) {
				angleError += 360.0f;
			}

			float kp, ki, kd;
			if (Hdirection == 1) {  // Left turn
				kp = kp_left;
				ki = ki_left;
				kd = kd_left;
			} else if (Hdirection == 2) {  // Right turn
				kp = kp_right;
				ki = ki_right;
				kd = kd_right;
			} else if (Hdirection == 3) {  // Right turn
				kp = kp_backward_left;
				ki = ki_backward_left;
				kd = kd_backward_left;
			} else if (Hdirection == 4) {  // Right turn
				kp = kp_backward_right;
				ki = ki_backward_right;
				kd = kd_backward_right;
			}

			// Then do your PID control with angleError
			heading_error_sum += angleError;
			float heading_derivative = angleError - heading_last_error;

			// Calculate motor speed
			float motorSpeed = kp * angleError + ki * heading_error_sum + kd * heading_derivative;
			uint16_t dutyCycle = (uint16_t) (fabs(motorSpeed) * MAX_MOTOR_PWM);
			if (dutyCycle > MAX_MOTOR_PWM) dutyCycle = MAX_MOTOR_PWM;

			// Reduce speed when close to target
			if (fabs(angleError) < 15.0f) {
				dutyCycle *= 0.5;
			}

			if(Hdirection == 1){
				setLeftPWM(1600);
				setRightPWM(dutyCycle*0.7);
			} else if(Hdirection == 2){
				setRightPWM(700);
				setLeftPWM(dutyCycle);
			} else if (Hdirection == 3) {  // Backward Left turn
				setLeftPWM(2000);
				setRightPWM(dutyCycle*0.7);  // Slightly higher for smooth turning
			} else if (Hdirection == 4) {  // Backward Right turn
				setRightPWM(700);
				setLeftPWM(dutyCycle);  // Reduce slightly for better balance
			}
			//setLeftPWM(dutyCycle);
			//setRightPWM(dutyCycle);

			if (fabs(angleError) < 8.0f) {
				faceFront();
				motorStop();
				commandStatus = false;
				targetAngle = 0;
				Hdirection = 0;
				SendMsg_RPI((uint8_t*)"ACK\n", strlen("ACK\n"));
			}
			heading_last_error = angleError;
		}
		osDelay(100);
	}
	/* USER CODE END Heading_PID */
}

void IRSensor_Task(void *argument)
{
	/* USER CODE BEGIN IRSensor_Task */
	uint32_t irLeftVal, irRightVal;
	float obsDistLeft, obsDistRight;
	char debugBuffer[64];
	/* Infinite loop */
	for(;;)
	{
		irLeftVal = read_IR_Left();
		irRightVal = read_IR_Right();

		// Convert ADC values to distances (example calibration, modify as needed)
		obsDistLeft = IR_ADC_to_Distance(irLeftVal);
		obsDistRight = IR_ADC_to_Distance(irRightVal);

		// Send to RPI for debugging
		//snprintf(debugBuffer, sizeof(debugBuffer), "IR L:%.1fcm R:%.1fcm\n", obsDistLeft, obsDistRight);
		//SendMsg_RPI((uint8_t*)debugBuffer, strlen(debugBuffer));

		// If obstacle detected close enough, stop the robot
		if (obsDistLeft < 10.0f || obsDistRight < 10.0f) {  // obstacle within 10 cm
			motorStop();
			SendMsg_RPI((uint8_t*)"Obstacle Detected\n", strlen("Obstacle Detected\n"));
		}

		osDelay(100);
	}
	/* USER CODE END IRSensor_Task */
}

void Error_Handler(void)
{
	__disable_irq();
	while (1)
	{
	}
}
